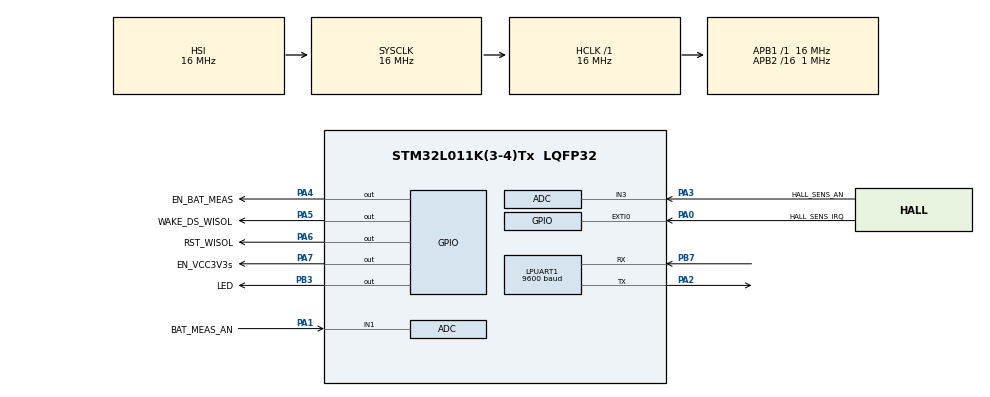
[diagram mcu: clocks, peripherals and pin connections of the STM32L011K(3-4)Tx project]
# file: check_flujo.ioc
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LPUART1.BaudRate=9600
LPUART1.WordLength=UART_WORDLENGTH_8B
Mcu.Family=STM32L0
Mcu.Name=STM32L011K(3-4)Tx
Mcu.Package=LQFP32
NVIC.EXTI0_1_IRQn=true\:0\:0\:false\:false\:true\:true\:true
NVIC.RTC_IRQn=true\:0\:0\:false\:false\:true\:true\:true
PA0-CK_IN.GPIO_Label=HALL_SENS_IRQ
PA0-CK_IN.GPIO_ModeDefaultEXTI=GPIO_MODE_IT_FALLING
PA0-CK_IN.GPIO_PuPd=GPIO_PULLUP
PA0-CK_IN.Signal=GPXTI0
PA1.GPIO_Label=BAT_MEAS_AN
PA1.Mode=IN1
PA1.Signal=ADC_IN1
PA2.Mode=Asynchronous
PA2.Signal=LPUART1_TX
PA3.GPIO_Label=HALL_SENS_AN
PA3.Mode=IN3
PA3.Signal=ADC_IN3
PA4.GPIO_Label=EN_BAT_MEAS
PA4.GPIO_PuPd=GPIO_PULLUP
PA4.GPIO_Speed=GPIO_SPEED_FREQ_LOW
PA4.Signal=GPIO_Output
PA5.GPIO_Label=WAKE_DS_WISOL
PA5.GPIO_ModeDefaultOutputPP=GPIO_MODE_OUTPUT_OD
PA5.GPIO_PuPd=GPIO_PULLUP
PA5.GPIO_Speed=GPIO_SPEED_FREQ_LOW
PA5.PinState=GPIO_PIN_SET
PA5.Signal=GPIO_Output
PA6.GPIO_Label=RST_WISOL
PA6.GPIO_ModeDefaultOutputPP=GPIO_MODE_OUTPUT_OD
PA6.GPIO_PuPd=GPIO_PULLUP
PA6.GPIO_Speed=GPIO_SPEED_FREQ_LOW
PA6.PinState=GPIO_PIN_SET
PA6.Signal=GPIO_Output
PA7.GPIO_Label=EN_VCC3V3s
PA7.GPIO_ModeDefaultOutputPP=GPIO_MODE_OUTPUT_PP
PA7.GPIO_PuPd=GPIO_PULLUP
PA7.GPIO_Speed=GPIO_SPEED_FREQ_LOW
PA7.PinState=GPIO_PIN_RESET
PA7.Signal=GPIO_Output
PB3.GPIO_Label=LED
PB3.GPIO_PuPd=GPIO_PULLUP
PB3.Signal=GPIO_Output
PB7.Mode=Asynchronous
PB7.Signal=LPUART1_RX
ProjectManager.HeapSize=0x200
ProjectManager.StackSize=0x400
ProjectManager.TargetToolchain=STM32CubeIDE
RCC.AHBFreq_Value=16000000
RCC.APB1Freq_Value=16000000
RCC.APB1TimFreq_Value=16000000
RCC.APB2CLKDivider=RCC_HCLK_DIV16
RCC.APB2Freq_Value=1000000
RCC.APB2TimFreq_Value=2000000
RCC.HCLKFreq_Value=16000000
RCC.HSE_VALUE=8000000
RCC.HSI16_VALUE=16000000
RCC.HSI_VALUE=16000000
RCC.LSE_VALUE=32768
RCC.MSI_VALUE=2097000
RCC.SYSCLKFreq_VALUE=16000000
RCC.SYSCLKSource=RCC_SYSCLKSOURCE_HSI
RCC.VCOOutputFreq_Value=48000000
RTC.Alarm-Alarm\ A=RTC_ALARM_A
RTC.AlarmMaskHours-Alarm\ A=RTC_ALARMMASK_HOURS
RTC.AsynchPrediv=124
RTC.SynchPrediv=295
VP_RTC_VS_RTC_Activate.Mode=RTC_Enabled
VP_RTC_VS_RTC_Alarm_A_Intern.Mode=Alarm A
VP_RTC_VS_RTC_Calendar.Mode=RTC_Calendar
board=custom

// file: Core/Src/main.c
/* USER CODE BEGIN Header */
/**
  ******************************************************************************
  * @file           : main.c
  * @brief          : Main program body
  ******************************************************************************
  * @attention
  *
  * <h2><center>&copy; Copyright (c) 2019 STMicroelectronics.
  * All rights reserved.</center></h2>
  *
  * This software component is licensed by ST under BSD 3-Clause license,
  * the "License"; You may not use this file except in compliance with the
  * License. You may obtain a copy of the License at:
  *                        opensource.org/licenses/BSD-3-Clause
  *
  ******************************************************************************
  */
/* USER CODE END Header */

#include "main.h"

/* USER CODE BEGIN Includes */
#include <stdio.h>
#include <stdlib.h>
#include <string.h>
typedef enum
{
	FALSE=0,
	TRUE=1
	}FLAG_T;
#define SUM_THRD 10
#define DATA_LOCA	5
#define VOLT_LOCA 9
#define VERSION_LOCA 1
#define HOUR_EVERY_MSG 6
volatile uint8_t SUM_HOUR;
volatile uint8_t SUM_DEC;
volatile uint8_t SUM_COUNTER;
FLAG_T time_flag;
#define version 0x01
volatile uint32_t C=0;
uint8_t aShowTime[] = "hh:ms:ss";
/* USER CODE END Includes */

ADC_HandleTypeDef hadc;

UART_HandleTypeDef hlpuart1;

RTC_HandleTypeDef hrtc;

void SystemClock_Config(void);
static void MX_GPIO_Init(void);
static void MX_ADC_Init(void);
static void MX_RTC_Init(void);
static void MX_LPUART1_UART_Init(void);
/* USER CODE BEGIN PFP */
void LowPowerConfig(void)
{
	__HAL_RCC_PWR_CLK_ENABLE(); // Enable Power Control clock
	HAL_PWREx_EnableUltraLowPower(); // Ultra low power mode
	HAL_PWREx_EnableFastWakeUp(); // Fast wake-up for ultra low power mode
	HAL_PWR_EnterSTOPMode(PWR_LOWPOWERREGULATOR_ON, PWR_STOPENTRY_WFI);
}
void HAL_RTCEx_WAKEUpTimerEventCallback(RTC_HandleTypeDef *hrtc)
{
	__HAL_PWR_CLEAR_FLAG(PWR_FLAG_WU);
	time_flag = TRUE;
	//HAL_GPIO_TogglePin(EN_VCC3V3s_GPIO_Port, EN_VCC3V3s_Pin);
}
void HAL_RTC_AlarmAEventCallback(RTC_HandleTypeDef *hrtc)
{
  /* Turn LED2 on: Alarm generation */
  if (SUM_HOUR == HOUR_EVERY_MSG-1){
	 time_flag = TRUE;
	 SUM_HOUR = 0;
  }else{
	 SUM_HOUR++;
  }
}
static void RTC_TimeShow(uint8_t* showtime)
{
  RTC_DateTypeDef sdatestructureget;
  RTC_TimeTypeDef stimestructureget;

  /* Get the RTC current Time */
  HAL_RTC_GetTime(&hrtc, &stimestructureget, RTC_FORMAT_BIN);
  /* Get the RTC current Date */
  HAL_RTC_GetDate(&hrtc, &sdatestructureget, RTC_FORMAT_BIN);
  /* Display time Format : hh:mm:ss */
  sprintf((char*)showtime,"%02d:%02d:%02d",stimestructureget.Hours, stimestructureget.Minutes, stimestructureget.Seconds);
}
/* USER CODE END PFP */

/* USER CODE BEGIN 0 */

void CASES_CHOICE(char* buff)
{
	unsigned int instruction = 0;
	if ((SUM_COUNTER == 0) || (SUM_COUNTER > SUM_THRD) || (time_flag == TRUE)) instruction = 1;
    switch (instruction)
	{
		case 0:
			break;
		case 1:
			//SystemClock_Config();
			//MX_LPUART1_UART_Init();
			HAL_Delay(30);
			if ((SUM_COUNTER==0) || (SUM_COUNTER > SUM_THRD)){
			   SUM_COUNTER = SUM_THRD;
			}else{
			   time_flag = FALSE;
			}
			BUILD_DATA_TO_SEND(buff);
			WAKE_WSSFM10R2AT();
			TRANSMIT_WSSFM10R2AT(buff,10);
			DEEP_SLEEP_WSSFM10R2AT();
			SUM_DEC=0;
			//LowPowerConfig();
			break;
	}
}
void COUNTER_CONSUMER(void){
	SUM_DEC++;
	SUM_COUNTER--;
}
void TRANSMIT_WSSFM10R2AT(char * buff, int ArrayLength){
	char AT_COMANDO[10];
	sprintf(AT_COMANDO,"AT$RC\r\n");
	HAL_UART_Transmit(&hlpuart1,(uint8_t*)AT_COMANDO,(uint16_t)strlen(AT_COMANDO),(uint32_t)100);
	HAL_Delay(100);
	sprintf(AT_COMANDO,"AT$SF=");
	HAL_UART_Transmit(&hlpuart1,(uint8_t*)AT_COMANDO,(uint16_t)strlen(AT_COMANDO),(uint32_t)100);
    HAL_UART_Transmit(&hlpuart1,(uint8_t*)buff,(uint16_t)ArrayLength,(uint32_t)100);
    sprintf(AT_COMANDO,"\r\n");
    HAL_UART_Transmit(&hlpuart1,(uint8_t*)AT_COMANDO,(uint16_t)strlen(AT_COMANDO),(uint32_t)100);
	for(int i=0;i<10;i++){
		HAL_GPIO_TogglePin(EN_VCC3V3s_GPIO_Port, EN_VCC3V3s_Pin);
		HAL_Delay(200);
	}
}
uint32_t CONFIG_CHANNEL_ADC(uint32_t channel){
	ADC_ChannelConfTypeDef sConfig;
	sConfig.Channel = channel;
	sConfig.Rank = ADC_RANK_CHANNEL_NUMBER;
	HAL_ADC_ConfigChannel(&hadc, &sConfig);
	uint32_t raw = 0;
	HAL_ADC_Start(&hadc);
	HAL_ADC_PollForConversion(&hadc, 100);
	raw = HAL_ADC_GetValue(&hadc);
	HAL_ADC_Stop(&hadc);
	sConfig.Rank = ADC_RANK_NONE;
	HAL_ADC_ConfigChannel(&hadc, &sConfig);
	return raw;
}
uint32_t GET_MEAS_BAT(void){
	uint32_t bat;
	HAL_GPIO_WritePin(GPIOA, EN_BAT_MEAS_Pin, GPIO_PIN_SET);
	HAL_Delay(50);
	bat = CONFIG_CHANNEL_ADC(ADC_CHANNEL_1)*6600/4095;
	HAL_GPIO_WritePin(GPIOA, EN_BAT_MEAS_Pin, GPIO_PIN_RESET);
	return bat;
}
uint32_t GET_MEAS_HALL(void){
	uint32_t hall;
	HAL_GPIO_WritePin(GPIOA, EN_VCC3V3s_Pin, GPIO_PIN_SET);
	HAL_Delay(50);
	hall = CONFIG_CHANNEL_ADC(ADC_CHANNEL_3)*3300/4095;
	HAL_GPIO_WritePin(GPIOA, EN_VCC3V3s_Pin, GPIO_PIN_RESET);
	return hall;
}
void WAKE_WSSFM10R2AT(void)
{
	HAL_GPIO_WritePin(WAKE_DS_WISOL_GPIO_Port, WAKE_DS_WISOL_Pin, GPIO_PIN_RESET);
	HAL_Delay(100);
	HAL_GPIO_WritePin(WAKE_DS_WISOL_GPIO_Port, WAKE_DS_WISOL_Pin, GPIO_PIN_SET);
	HAL_Delay(500);  // Wait for the wisol to be prepared
}
void RESET_WSSFM10R2AT(void)
{
	HAL_GPIO_WritePin(RST_WISOL_GPIO_Port, RST_WISOL_Pin, GPIO_PIN_RESET);
	HAL_Delay(500);
	HAL_GPIO_WritePin(RST_WISOL_GPIO_Port, RST_WISOL_Pin, GPIO_PIN_SET);
}
void DEEP_SLEEP_WSSFM10R2AT(void)
{
	char AT[10];
	sprintf(AT,"AT$P=2\r\n");
	HAL_UART_Transmit(&hlpuart1,(uint8_t*)AT,(uint16_t)strlen(AT),(uint32_t)100);
	HAL_Delay(100);
}
void DATA_ASSIGMENT(char* buff,uint16_t s,uint8_t loc,uint8_t t)
{
	uint8_t i;//Data position counter
	uint8_t j=0;//Conversion data position counter
	uint8_t dig_count=0;//Digit Counter
	char conversion_buff[5];
	memset(conversion_buff,'\0',5);
	itoa(s,conversion_buff,t);//Convert int S to String in HEX
	while(conversion_buff[dig_count] != '\0') ++dig_count;//Converted data digit counter function

	for (i = (loc-dig_count)+1; j < dig_count; ++i)//Data arrangement in output buffer
	{
		 buff[i] = conversion_buff[j];
		 ++j;
	}
}
void BUILD_DATA_TO_SEND(char* buff)
{
	memset(buff,'0',10); //Clear memory variable
	DATA_ASSIGMENT(buff,GET_MEAS_BAT(),VOLT_LOCA,16);
	DATA_ASSIGMENT(buff,SUM_DEC,DATA_LOCA,16);
	DATA_ASSIGMENT(buff,version,VERSION_LOCA,16);
}
/* USER CODE END 0 */

int main(void)
{
  /* USER CODE BEGIN 1 */
  char data_buff[10];
  SUM_DEC=0;
  SUM_HOUR=0;
  /* USER CODE END 1 */

  /* MCU Configuration--------------------------------------------------------*/

  /* Reset of all peripherals, Initializes the Flash interface and the Systick. */
  HAL_Init();

  /* Configure the system clock */
  SystemClock_Config();

  /* Initialize all configured peripherals */
  MX_GPIO_Init();
  MX_ADC_Init();
  MX_RTC_Init();
  MX_LPUART1_UART_Init();
  /* USER CODE BEGIN 2 */
  SUM_COUNTER=0;
  HAL_Delay(2000);
  /* USER CODE END 2 */

  /* Infinite loop */
  while (1)
    {
	  RTC_TimeShow(aShowTime);
	  CASES_CHOICE(data_buff);
    }
}

void SystemClock_Config(void)
{
  RCC_OscInitTypeDef RCC_OscInitStruct = {0};
  RCC_ClkInitTypeDef RCC_ClkInitStruct = {0};
  RCC_PeriphCLKInitTypeDef PeriphClkInit = {0};

  /** Configure the main internal regulator output voltage
  */
  __HAL_PWR_VOLTAGESCALING_CONFIG(PWR_REGULATOR_VOLTAGE_SCALE1);
  /** Initializes the CPU, AHB and APB busses clocks
  */
  RCC_OscInitStruct.OscillatorType = RCC_OSCILLATORTYPE_HSI|RCC_OSCILLATORTYPE_LSI;
  RCC_OscInitStruct.HSIState = RCC_HSI_ON;
  RCC_OscInitStruct.HSICalibrationValue = RCC_HSICALIBRATION_DEFAULT;
  RCC_OscInitStruct.LSIState = RCC_LSI_ON;
  RCC_OscInitStruct.PLL.PLLState = RCC_PLL_NONE;
  if (HAL_RCC_OscConfig(&RCC_OscInitStruct) != HAL_OK)
  {
    Error_Handler();
  }
  /** Initializes the CPU, AHB and APB busses clocks
  */
  RCC_ClkInitStruct.ClockType = RCC_CLOCKTYPE_HCLK|RCC_CLOCKTYPE_SYSCLK
                              |RCC_CLOCKTYPE_PCLK1|RCC_CLOCKTYPE_PCLK2;
  RCC_ClkInitStruct.SYSCLKSource = RCC_SYSCLKSOURCE_HSI;
  RCC_ClkInitStruct.AHBCLKDivider = RCC_SYSCLK_DIV1;
  RCC_ClkInitStruct.APB1CLKDivider = RCC_HCLK_DIV1;
  RCC_ClkInitStruct.APB2CLKDivider = RCC_HCLK_DIV16;

  if (HAL_RCC_ClockConfig(&RCC_ClkInitStruct, FLASH_LATENCY_0) != HAL_OK)
  {
    Error_Handler();
  }
  PeriphClkInit.PeriphClockSelection = RCC_PERIPHCLK_LPUART1|RCC_PERIPHCLK_RTC;
  PeriphClkInit.Lpuart1ClockSelection = RCC_LPUART1CLKSOURCE_PCLK1;
  PeriphClkInit.RTCClockSelection = RCC_RTCCLKSOURCE_LSI;
  if (HAL_RCCEx_PeriphCLKConfig(&PeriphClkInit) != HAL_OK)
  {
    Error_Handler();
  }
}

static void MX_ADC_Init(void)
{

  ADC_ChannelConfTypeDef sConfig = {0};

  /** Configure the global features of the ADC (Clock, Resolution, Data Alignment and number of conversion)
  */
  hadc.Instance = ADC1;
  hadc.Init.OversamplingMode = DISABLE;
  hadc.Init.ClockPrescaler = ADC_CLOCK_SYNC_PCLK_DIV2;
  hadc.Init.Resolution = ADC_RESOLUTION_12B;
  hadc.Init.SamplingTime = ADC_SAMPLETIME_1CYCLE_5;
  hadc.Init.ScanConvMode = ADC_SCAN_DIRECTION_FORWARD;
  hadc.Init.DataAlign = ADC_DATAALIGN_RIGHT;
  hadc.Init.ContinuousConvMode = DISABLE;
  hadc.Init.DiscontinuousConvMode = DISABLE;
  hadc.Init.ExternalTrigConvEdge = ADC_EXTERNALTRIGCONVEDGE_NONE;
  hadc.Init.ExternalTrigConv = ADC_SOFTWARE_START;
  hadc.Init.DMAContinuousRequests = DISABLE;
  hadc.Init.EOCSelection = ADC_EOC_SINGLE_CONV;
  hadc.Init.Overrun = ADC_OVR_DATA_PRESERVED;
  hadc.Init.LowPowerAutoWait = DISABLE;
  hadc.Init.LowPowerFrequencyMode = DISABLE;
  hadc.Init.LowPowerAutoPowerOff = DISABLE;
  if (HAL_ADC_Init(&hadc) != HAL_OK)
  {
    Error_Handler();
  }
  /** Configure for the selected ADC regular channel to be converted.
  */
  sConfig.Channel = ADC_CHANNEL_1;
  sConfig.Rank = ADC_RANK_CHANNEL_NUMBER;
  if (HAL_ADC_ConfigChannel(&hadc, &sConfig) != HAL_OK)
  {
    Error_Handler();
  }
  /** Configure for the selected ADC regular channel to be converted.
  */
  sConfig.Channel = ADC_CHANNEL_3;
  if (HAL_ADC_ConfigChannel(&hadc, &sConfig) != HAL_OK)
  {
    Error_Handler();
  }

}

static void MX_LPUART1_UART_Init(void)
{

  hlpuart1.Instance = LPUART1;
  hlpuart1.Init.BaudRate = 9600;
  hlpuart1.Init.WordLength = UART_WORDLENGTH_8B;
  hlpuart1.Init.StopBits = UART_STOPBITS_1;
  hlpuart1.Init.Parity = UART_PARITY_NONE;
  hlpuart1.Init.Mode = UART_MODE_TX_RX;
  hlpuart1.Init.HwFlowCtl = UART_HWCONTROL_NONE;
  hlpuart1.Init.OneBitSampling = UART_ONE_BIT_SAMPLE_DISABLE;
  hlpuart1.AdvancedInit.AdvFeatureInit = UART_ADVFEATURE_NO_INIT;
  if (HAL_UART_Init(&hlpuart1) != HAL_OK)
  {
    Error_Handler();
  }

}

static void MX_RTC_Init(void)
{

  RTC_TimeTypeDef sTime = {0};
  RTC_DateTypeDef sDate = {0};
  RTC_AlarmTypeDef sAlarm = {0};

  /** Initialize RTC Only
  */
  hrtc.Instance = RTC;
  hrtc.Init.HourFormat = RTC_HOURFORMAT_24;
  hrtc.Init.AsynchPrediv = 124;
  hrtc.Init.SynchPrediv = 295;
  hrtc.Init.OutPut = RTC_OUTPUT_DISABLE;
  hrtc.Init.OutPutRemap = RTC_OUTPUT_REMAP_NONE;
  hrtc.Init.OutPutPolarity = RTC_OUTPUT_POLARITY_HIGH;
  hrtc.Init.OutPutType = RTC_OUTPUT_TYPE_OPENDRAIN;
  if (HAL_RTC_Init(&hrtc) != HAL_OK)
  {
    Error_Handler();
  }

  /** Initialize RTC and set the Time and Date
  */
  sTime.Hours = 0x0;
  sTime.Minutes = 0x0;
  sTime.Seconds = 0x0;
  sTime.DayLightSaving = RTC_DAYLIGHTSAVING_NONE;
  sTime.StoreOperation = RTC_STOREOPERATION_RESET;
  if (HAL_RTC_SetTime(&hrtc, &sTime, RTC_FORMAT_BCD) != HAL_OK)
  {
    Error_Handler();
  }
  sDate.WeekDay = RTC_WEEKDAY_MONDAY;
  sDate.Month = RTC_MONTH_JANUARY;
  sDate.Date = 0x1;
  sDate.Year = 0x0;

  if (HAL_RTC_SetDate(&hrtc, &sDate, RTC_FORMAT_BCD) != HAL_OK)
  {
    Error_Handler();
  }
  /** Enable the Alarm A
  */
  sAlarm.AlarmTime.Hours = 0x0;
  sAlarm.AlarmTime.Minutes = 0x0;
  sAlarm.AlarmTime.Seconds = 0x0;
  sAlarm.AlarmTime.SubSeconds = 0x0;
  sAlarm.AlarmTime.DayLightSaving = RTC_DAYLIGHTSAVING_NONE;
  sAlarm.AlarmTime.StoreOperation = RTC_STOREOPERATION_RESET;
  sAlarm.AlarmMask = RTC_ALARMMASK_HOURS;
  sAlarm.AlarmSubSecondMask = RTC_ALARMSUBSECONDMASK_ALL;
  sAlarm.AlarmDateWeekDaySel = RTC_ALARMDATEWEEKDAYSEL_DATE;
  sAlarm.AlarmDateWeekDay = 0x1;
  sAlarm.Alarm = RTC_ALARM_A;
  if (HAL_RTC_SetAlarm_IT(&hrtc, &sAlarm, RTC_FORMAT_BCD) != HAL_OK)
  {
    Error_Handler();
  }

}

static void MX_GPIO_Init(void)
{
  GPIO_InitTypeDef GPIO_InitStruct = {0};

  /* GPIO Ports Clock Enable */
  __HAL_RCC_GPIOA_CLK_ENABLE();
  __HAL_RCC_GPIOB_CLK_ENABLE();

  /*Configure GPIO pin Output Level */
  HAL_GPIO_WritePin(GPIOA, EN_BAT_MEAS_Pin|EN_VCC3V3s_Pin, GPIO_PIN_RESET);

  /*Configure GPIO pin Output Level */
  HAL_GPIO_WritePin(GPIOA, WAKE_DS_WISOL_Pin|RST_WISOL_Pin, GPIO_PIN_SET);

  /*Configure GPIO pin Output Level */
  HAL_GPIO_WritePin(LED_GPIO_Port, LED_Pin, GPIO_PIN_RESET);

  /*Configure GPIO pin : HALL_SENS_IRQ_Pin */
  GPIO_InitStruct.Pin = HALL_SENS_IRQ_Pin;
  GPIO_InitStruct.Mode = GPIO_MODE_IT_FALLING;
  GPIO_InitStruct.Pull = GPIO_PULLUP;
  HAL_GPIO_Init(HALL_SENS_IRQ_GPIO_Port, &GPIO_InitStruct);

  /*Configure GPIO pins : EN_BAT_MEAS_Pin EN_VCC3V3s_Pin */
  GPIO_InitStruct.Pin = EN_BAT_MEAS_Pin|EN_VCC3V3s_Pin;
  GPIO_InitStruct.Mode = GPIO_MODE_OUTPUT_PP;
  GPIO_InitStruct.Pull = GPIO_PULLUP;
  GPIO_InitStruct.Speed = GPIO_SPEED_FREQ_LOW;
  HAL_GPIO_Init(GPIOA, &GPIO_InitStruct);

  /*Configure GPIO pins : WAKE_DS_WISOL_Pin RST_WISOL_Pin */
  GPIO_InitStruct.Pin = WAKE_DS_WISOL_Pin|RST_WISOL_Pin;
  GPIO_InitStruct.Mode = GPIO_MODE_OUTPUT_OD;
  GPIO_InitStruct.Pull = GPIO_PULLUP;
  GPIO_InitStruct.Speed = GPIO_SPEED_FREQ_LOW;
  HAL_GPIO_Init(GPIOA, &GPIO_InitStruct);

  /*Configure GPIO pin : LED_Pin */
  GPIO_InitStruct.Pin = LED_Pin;
  GPIO_InitStruct.Mode = GPIO_MODE_OUTPUT_PP;
  GPIO_InitStruct.Pull = GPIO_PULLUP;
  GPIO_InitStruct.Speed = GPIO_SPEED_FREQ_LOW;
  HAL_GPIO_Init(LED_GPIO_Port, &GPIO_InitStruct);

  /* EXTI interrupt init*/
  HAL_NVIC_SetPriority(EXTI0_1_IRQn, 0, 0);
  HAL_NVIC_EnableIRQ(EXTI0_1_IRQn);

}

void Error_Handler(void)
{
}

/************************ (C) COPYRIGHT STMicroelectronics *****END OF FILE****/
